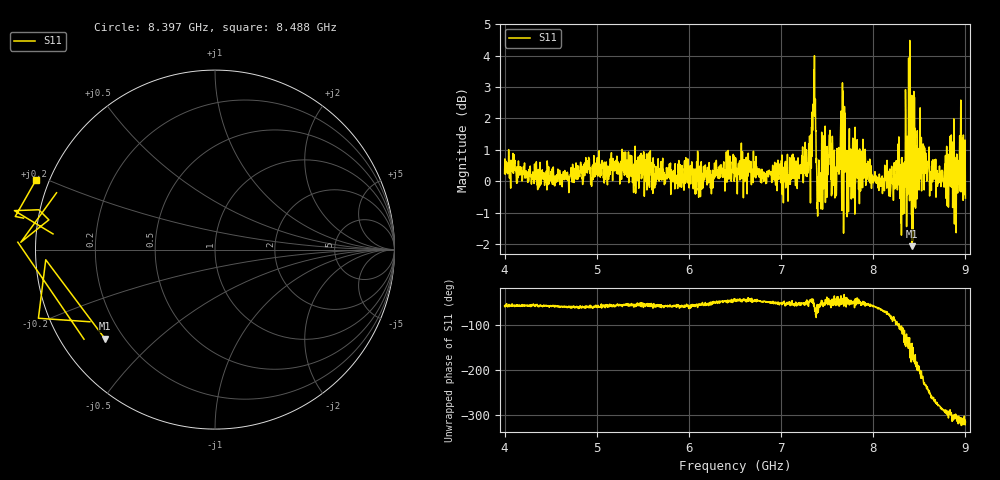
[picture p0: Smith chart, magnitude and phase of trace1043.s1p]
! Created with skrf 1.8.0 (http://scikit-rf.org).
# Hz S RI R 50.0
!freq ReS11 ImS11
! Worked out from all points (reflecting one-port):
!   1601 points, 4 GHz to 9 GHz, reference 50 ohm
!   lowest |S11| = -2.1 dB at 8.422 GHz (marker M1), VSWR 8.48, Z = 6.62 - j17.4 ohm
!   phase of S11 starts at -58 deg and turns -257 deg over the sweep
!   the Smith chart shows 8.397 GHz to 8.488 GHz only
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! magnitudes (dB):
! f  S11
! 4 GHz  0.3
! 4.625 GHz  -0.2
! 5.25 GHz  -0.1
! 5.875 GHz  0.2
! 6.5 GHz  0.2
! 7.125 GHz  0.2
! 7.294 GHz  0.3
! 7.356 GHz  3.6
! 7.412 GHz  -0.3
! 7.509 GHz  0.3
! 7.606 GHz  1.0
! 7.65 GHz  2.2
! 7.75 GHz  0.2
! 7.894 GHz  0.1
! 8.097 GHz  0.2
! 8.272 GHz  1.2
! 8.312 GHz  0.8
! 8.375 GHz  0.1
! 8.422 GHz  -2.1
! 8.447 GHz  2.7
! 8.459 GHz  -0.8
! 8.481 GHz  0.7
! 8.525 GHz  -0.3
! 8.747 GHz  0.0
! 8.85 GHz  -0.2
! 8.903 GHz  0.4
! 8.956 GHz  0.0
! 9 GHz  -0.5
